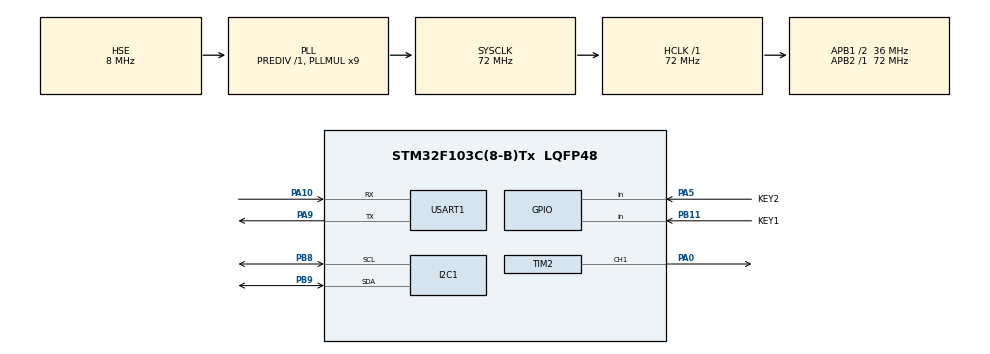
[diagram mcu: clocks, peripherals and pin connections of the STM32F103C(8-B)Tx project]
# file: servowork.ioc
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Dma.Request0=USART1_RX
Dma.Request1=USART1_TX
Dma.USART1_RX.0.Direction=DMA_PERIPH_TO_MEMORY
Dma.USART1_RX.0.Instance=DMA1_Channel5
Dma.USART1_RX.0.MemDataAlignment=DMA_MDATAALIGN_BYTE
Dma.USART1_RX.0.MemInc=DMA_MINC_ENABLE
Dma.USART1_RX.0.Mode=DMA_NORMAL
Dma.USART1_RX.0.PeriphDataAlignment=DMA_PDATAALIGN_BYTE
Dma.USART1_RX.0.PeriphInc=DMA_PINC_DISABLE
Dma.USART1_RX.0.Priority=DMA_PRIORITY_LOW
Dma.USART1_TX.1.Direction=DMA_MEMORY_TO_PERIPH
Dma.USART1_TX.1.Instance=DMA1_Channel4
Dma.USART1_TX.1.MemDataAlignment=DMA_MDATAALIGN_BYTE
Dma.USART1_TX.1.MemInc=DMA_MINC_ENABLE
Dma.USART1_TX.1.Mode=DMA_NORMAL
Dma.USART1_TX.1.PeriphDataAlignment=DMA_PDATAALIGN_BYTE
Dma.USART1_TX.1.PeriphInc=DMA_PINC_DISABLE
Dma.USART1_TX.1.Priority=DMA_PRIORITY_LOW
Mcu.Family=STM32F1
Mcu.Name=STM32F103C(8-B)Tx
Mcu.Package=LQFP48
NVIC.DMA1_Channel4_IRQn=true\:0\:0\:false\:false\:true\:false\:true\:true
NVIC.DMA1_Channel5_IRQn=true\:0\:0\:false\:false\:true\:false\:true\:true
NVIC.PriorityGroup=NVIC_PRIORITYGROUP_4
NVIC.TIM2_IRQn=true\:0\:0\:false\:false\:true\:true\:true\:true
NVIC.TIM3_IRQn=true\:1\:0\:true\:false\:true\:true\:true\:true
NVIC.TIM4_IRQn=true\:0\:0\:true\:false\:true\:true\:true\:true
NVIC.USART1_IRQn=true\:0\:0\:false\:false\:true\:true\:true\:true
PA0-WKUP.Signal=S_TIM2_CH1_ETR
PA10.Mode=Asynchronous
PA10.Signal=USART1_RX
PA13.Mode=Serial_Wire
PA13.Signal=SYS_JTMS-SWDIO
PA14.Mode=Serial_Wire
PA14.Signal=SYS_JTCK-SWCLK
PA5.GPIO_Label=KEY2
PA5.GPIO_PuPd=GPIO_PULLUP
PA5.Signal=GPIO_Input
PA9.Mode=Asynchronous
PA9.Signal=USART1_TX
PB11.GPIO_Label=KEY1
PB11.GPIO_PuPd=GPIO_PULLUP
PB11.Signal=GPIO_Input
PB8.Mode=I2C
PB8.Signal=I2C1_SCL
PB9.Mode=I2C
PB9.Signal=I2C1_SDA
PC14-OSC32_IN.Mode=LSE-External-Oscillator
PC14-OSC32_IN.Signal=RCC_OSC32_IN
PC15-OSC32_OUT.Mode=LSE-External-Oscillator
PC15-OSC32_OUT.Signal=RCC_OSC32_OUT
PD0-OSC_IN.Mode=HSE-External-Oscillator
PD0-OSC_IN.Signal=RCC_OSC_IN
PD1-OSC_OUT.Mode=HSE-External-Oscillator
PD1-OSC_OUT.Signal=RCC_OSC_OUT
ProjectManager.HeapSize=0x200
ProjectManager.StackSize=0x400
ProjectManager.TargetToolchain=STM32CubeIDE
RCC.AHBFreq_Value=72000000
RCC.APB1CLKDivider=RCC_HCLK_DIV2
RCC.APB1Freq_Value=36000000
RCC.APB1TimFreq_Value=72000000
RCC.APB2Freq_Value=72000000
RCC.APB2TimFreq_Value=72000000
RCC.HCLKFreq_Value=72000000
RCC.PLLMUL=RCC_PLL_MUL9
RCC.PLLSourceVirtual=RCC_PLLSOURCE_HSE
RCC.SYSCLKFreq_VALUE=72000000
RCC.SYSCLKSource=RCC_SYSCLKSOURCE_PLLCLK
RCC.USBFreq_Value=72000000
SH.S_TIM2_CH1_ETR.0=TIM2_CH1,PWM Generation1 CH1
TIM2.Channel-PWM\ Generation1\ CH1=TIM_CHANNEL_1
TIM2.Period=20000-1
TIM2.Prescaler=72-1
TIM3.Period=10000-1
TIM3.Prescaler=7200-1
TIM4.Period=2000-1
TIM4.Prescaler=720-1
USART1.VirtualMode=VM_ASYNC
VP_TIM2_VS_ClockSourceINT.Mode=Internal
VP_TIM3_VS_ClockSourceINT.Mode=Internal
VP_TIM4_VS_ClockSourceINT.Mode=Internal
board=custom

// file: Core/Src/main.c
/* USER CODE BEGIN Header */
/**
  ******************************************************************************
  * @file           : main.c
  * @brief          : Main program body
  ******************************************************************************
  * @attention
  *
  * Copyright (c) 2026 STMicroelectronics.
  * All rights reserved.
  *
  * This software is licensed under terms that can be found in the LICENSE file
  * in the root directory of this software component.
  * If no LICENSE file comes with this software, it is provided AS-IS.
  *
  ******************************************************************************
  */
/* USER CODE END Header */
#include "main.h"
#include "dma.h"
#include "i2c.h"
#include "tim.h"
#include "usart.h"
#include "gpio.h"

/* USER CODE BEGIN Includes */
#include "oled.h"
#include "servo.h"
#include "string.h"
#include "stdio.h"
/* USER CODE END Includes */

/* USER CODE BEGIN PV */
volatile float angle=0.0f;
uint8_t doflag=1;
uint16_t ccr=0;
/* USER CODE END PV */

void SystemClock_Config(void);

/* USER CODE BEGIN 0 */
void HAL_TIM_PeriodElapsedCallback(TIM_HandleTypeDef *htim)
{
  if (htim->Instance == TIM3)
  {
    static uint8_t state=0;
    angle=state*45.0f;
    Servo_SetAngle(angle);
    ccr=Servo_AngleToCCR(angle);
    doflag=1;
    state++;

    if (state>4)state=0;

  }
  if (htim->Instance == TIM4)
  {
    static uint8_t KL1=1;
    static uint8_t KL2=1;
    uint8_t KN1=HAL_GPIO_ReadPin(KEY1_GPIO_Port, KEY1_Pin);
    uint8_t KN2=HAL_GPIO_ReadPin(KEY2_GPIO_Port, KEY2_Pin);
    if (KN1!=KL1)
    {
     KL1=KN1;
     if (KN1==0)
     {
       angle+=15;
       if (angle > 180.0f) angle = 180.0f;
       if (angle < 0.0f)   angle = 0.0f;
       ccr=Servo_AngleToCCR(angle);
       doflag=1;
       Servo_SetAngle(angle);
     }
    }
    if (KN2!=KL2)
    {
      KL2=KN2;
      if (KN2==0)
      {
       angle-=15;
        if (angle > 180.0f) angle = 180.0f;
        if (angle < 0.0f)   angle = 0.0f;
        ccr=Servo_AngleToCCR(angle);
        doflag=1;
       Servo_SetAngle(angle);
      }
    }

  }
}

int _write(int fd, char *ptr, int len)
{
  HAL_UART_Transmit(&huart1, (uint8_t *)ptr, len, 100);
  return len;
}

/* USER CODE END 0 */

int main(void)
{

  /* MCU Configuration--------------------------------------------------------*/

  /* Reset of all peripherals, Initializes the Flash interface and the Systick. */
  HAL_Init();

  /* Configure the system clock */
  SystemClock_Config();

  /* Initialize all configured peripherals */
  MX_GPIO_Init();
  MX_DMA_Init();
  MX_TIM2_Init();
  MX_I2C1_Init();
  MX_USART1_UART_Init();
  MX_TIM3_Init();
  MX_TIM4_Init();
  /* USER CODE BEGIN 2 */
  OLED_Init();

  HAL_TIM_PWM_Start(&htim2, TIM_CHANNEL_1);
  HAL_TIM_Base_Start_IT(&htim3);
  HAL_TIM_Base_Start_IT(&htim4);

  /* USER CODE END 2 */

  /* Infinite loop */
  /* USER CODE BEGIN WHILE */
  while (1)
  {

    if (doflag==1)
    {
      Servo_ShowOnOLED(angle,ccr);
      printf("Target:%03d  \r\nCCR   :%04d  \r\nPulse :%d.%03dms\r\n",
       (int)angle, ccr, ccr / 1000, ccr % 1000);
      doflag=0;

    }

    /* USER CODE END WHILE */

  }
}

void SystemClock_Config(void)
{
  RCC_OscInitTypeDef RCC_OscInitStruct = {0};
  RCC_ClkInitTypeDef RCC_ClkInitStruct = {0};

  /** Initializes the RCC Oscillators according to the specified parameters
  * in the RCC_OscInitTypeDef structure.
  */
  RCC_OscInitStruct.OscillatorType = RCC_OSCILLATORTYPE_HSE;
  RCC_OscInitStruct.HSEState = RCC_HSE_ON;
  RCC_OscInitStruct.HSEPredivValue = RCC_HSE_PREDIV_DIV1;
  RCC_OscInitStruct.HSIState = RCC_HSI_ON;
  RCC_OscInitStruct.PLL.PLLState = RCC_PLL_ON;
  RCC_OscInitStruct.PLL.PLLSource = RCC_PLLSOURCE_HSE;
  RCC_OscInitStruct.PLL.PLLMUL = RCC_PLL_MUL9;
  if (HAL_RCC_OscConfig(&RCC_OscInitStruct) != HAL_OK)
  {
    Error_Handler();
  }

  /** Initializes the CPU, AHB and APB buses clocks
  */
  RCC_ClkInitStruct.ClockType = RCC_CLOCKTYPE_HCLK|RCC_CLOCKTYPE_SYSCLK
                              |RCC_CLOCKTYPE_PCLK1|RCC_CLOCKTYPE_PCLK2;
  RCC_ClkInitStruct.SYSCLKSource = RCC_SYSCLKSOURCE_PLLCLK;
  RCC_ClkInitStruct.AHBCLKDivider = RCC_SYSCLK_DIV1;
  RCC_ClkInitStruct.APB1CLKDivider = RCC_HCLK_DIV2;
  RCC_ClkInitStruct.APB2CLKDivider = RCC_HCLK_DIV1;

  if (HAL_RCC_ClockConfig(&RCC_ClkInitStruct, FLASH_LATENCY_2) != HAL_OK)
  {
    Error_Handler();
  }
}

void Error_Handler(void)
{
  __disable_irq();
  while (1)
  {
  }
}
